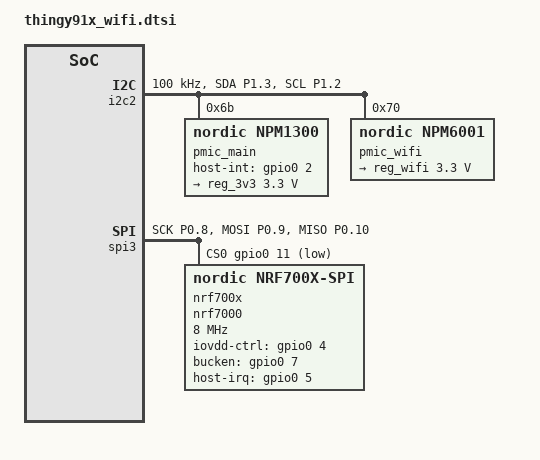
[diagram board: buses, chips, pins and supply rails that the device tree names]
#include <dt-bindings/regulator/npm1300.h>
#include <dt-bindings/regulator/npm6001.h>

/ {
	chosen {
		zephyr,wifi = &nordic_wlan0;
	};
	nordic_wlan0: nordic_wlan0 {
		compatible = "nordic,wlan0";
		status = "okay";
	};
	nrf70_tx_power_ceiling: nrf70_tx_power_ceiling_node {
		status = "okay";
		compatible = "nordic,nrf700x-tx-power-ceiling";
		max-pwr-2g-dsss = <0x54>;
		max-pwr-2g-mcs0 = <0x40>;
		max-pwr-2g-mcs7 = <0x40>;
		max-pwr-5g-low-mcs0 = <0x24>;
		max-pwr-5g-low-mcs7 = <0x24>;
		max-pwr-5g-mid-mcs0 = <0x2C>;
		max-pwr-5g-mid-mcs7 = <0x2C>;
		max-pwr-5g-high-mcs0 = <0x34>;
		max-pwr-5g-high-mcs7 = <0x34>;
	};
};

&pinctrl {
	i2c2_default: i2c2_default {
		group1 {
			psels = <NRF_PSEL(TWIM_SDA, 1, 3)>,
				<NRF_PSEL(TWIM_SCL, 1, 2)>;
		};
	};

	i2c2_sleep: i2c2_sleep {
		group1 {
			psels = <NRF_PSEL(TWIM_SDA, 1, 3)>,
				<NRF_PSEL(TWIM_SCL, 1, 2)>;
			low-power-enable;
		};
	};

	spi3_default: spi3_default {
		group1 {
			psels = <NRF_PSEL(SPIM_SCK, 0, 8)>,
				<NRF_PSEL(SPIM_MOSI, 0, 9)>,
				<NRF_PSEL(SPIM_MISO, 0, 10)>;
		};
	};

	spi3_sleep: spi3_sleep {
		group1 {
			psels = <NRF_PSEL(SPIM_SCK, 0, 8)>,
				<NRF_PSEL(SPIM_MOSI, 0, 9)>,
				<NRF_PSEL(SPIM_MISO, 0, 10)>;
			low-power-enable;
		};
	};
};

&i2c2 {
	compatible = "nordic,nrf-twim";
	status = "okay";
	clock-frequency = <I2C_BITRATE_STANDARD>;

	pinctrl-0 = <&i2c2_default>;
	pinctrl-1 = <&i2c2_sleep>;
	pinctrl-names = "default", "sleep";

	pmic_main: npm1300@6b {
		compatible = "nordic,npm1300";
		host-int-gpios = <&gpio0 2 GPIO_ACTIVE_HIGH>;
		pmic-int-pin = <3>;
		reg = <0x6b>;

		gpios_pmic: npm1300_gpios {
			compatible = "nordic,npm1300-gpio";
			gpio-controller;
			#gpio-cells = <2>;
			ngpios = <5>;
			npm13_button: GPIO0 {
				gpio-hog;
				gpios = <0 GPIO_ACTIVE_HIGH>;
			};
			/* GPIO1 switches power to the short range RF front end */
			ldsw_rf_fe_sr_en: GPIO1 {
				gpio-hog;
				output-high;
				gpios = <1 (GPIO_ACTIVE_LOW | GPIO_OPEN_DRAIN | GPIO_PULL_UP)>;
			};
			power_switch: GPIO2 {
				gpio-hog;
				gpios = <2 GPIO_ACTIVE_HIGH>;
			};
			npm60_ready: GPIO4 {
				gpio-hog;
				gpios = <4 GPIO_ACTIVE_HIGH>;
			};
		};

		regulators {
			compatible = "nordic,npm1300-regulator";
			/* Main 3.3 V regulator, enabled by GPIO2 (power switch) */
			reg_3v3: BUCK2 {
				regulator-min-microvolt = <3300000>;
				regulator-max-microvolt = <3300000>;
				enable-gpios = <&gpios_pmic 2 GPIO_ACTIVE_HIGH>;
			};
			/* LDO1 is used as a load switch pulling the nPM60 enable line to VSYS */
			ldsw_nPM60_en: LDO1 {
				regulator-initial-mode = <NPM1300_LDSW_MODE_LDSW>;
				regulator-allowed-modes = <NPM1300_LDSW_MODE_LDSW>;
				regulator-boot-on;
			};
			/* LDO2 is used as a load switch for sensor power supply */
			ldsw_sensors: LDO2 {
				regulator-initial-mode = <NPM1300_LDSW_MODE_LDSW>;
				regulator-allowed-modes = <NPM1300_LDSW_MODE_LDSW>;
				regulator-boot-on;
			};
		};

		npm1300_charger: charger {
			compatible = "nordic,npm1300-charger";
			vbus-limit-microamp = <500000>;
			/* Battery specs from LiPol LP803448 datasheet (Dwg. nr. FD_3245_70) */
			term-microvolt = <4200000>;
			current-microamp = <675000>; /* 0.5C charging current */
			dischg-limit-microamp = <1340000>; /* Maximum value for PMIC */
			thermistor-cold-millidegrees = <0>;
			thermistor-cool-millidegrees = <0>;
			thermistor-warm-millidegrees = <45000>;
			thermistor-hot-millidegrees = <45000>;
			thermistor-ohms = <10000>;
			thermistor-beta = <3435>;
			charging-enable;
		};
	};

	pmic_wifi: npm6001@70 {
		status = "okay";

		compatible = "nordic,npm6001";
		reg = <0x70>;

		regulators {
		compatible = "nordic,npm6001-regulator";
			/* Dedicated 3.3 V regulator for nRF70 */
			reg_wifi: BUCK3 {
				regulator-min-microvolt = <3300000>;
				regulator-max-microvolt = <3300000>;
				regulator-initial-mode = <NPM6001_MODE_PWM>;
				regulator-boot-on;
			};
		};
	};
};

&spi3 {
	compatible = "nordic,nrf-spim";
	status = "okay";
	cs-gpios = <&gpio0 11 GPIO_ACTIVE_LOW>;

	pinctrl-0 = <&spi3_default>;
	pinctrl-1 = <&spi3_sleep>;
	pinctrl-names = "default", "sleep";

	nrf700x: nrf7000@0 {
		compatible = "nordic,nrf700x-spi";
		status = "okay";
		reg = <0>;
		spi-max-frequency = <DT_FREQ_M(8)>;

		iovdd-ctrl-gpios = <&gpio0 4 (GPIO_ACTIVE_HIGH | GPIO_PULL_DOWN)>;
		bucken-gpios = <&gpio0 7 (GPIO_ACTIVE_HIGH | GPIO_PULL_DOWN)>;
		host-irq-gpios = <&gpio0 5 GPIO_ACTIVE_HIGH>;
	};

};
